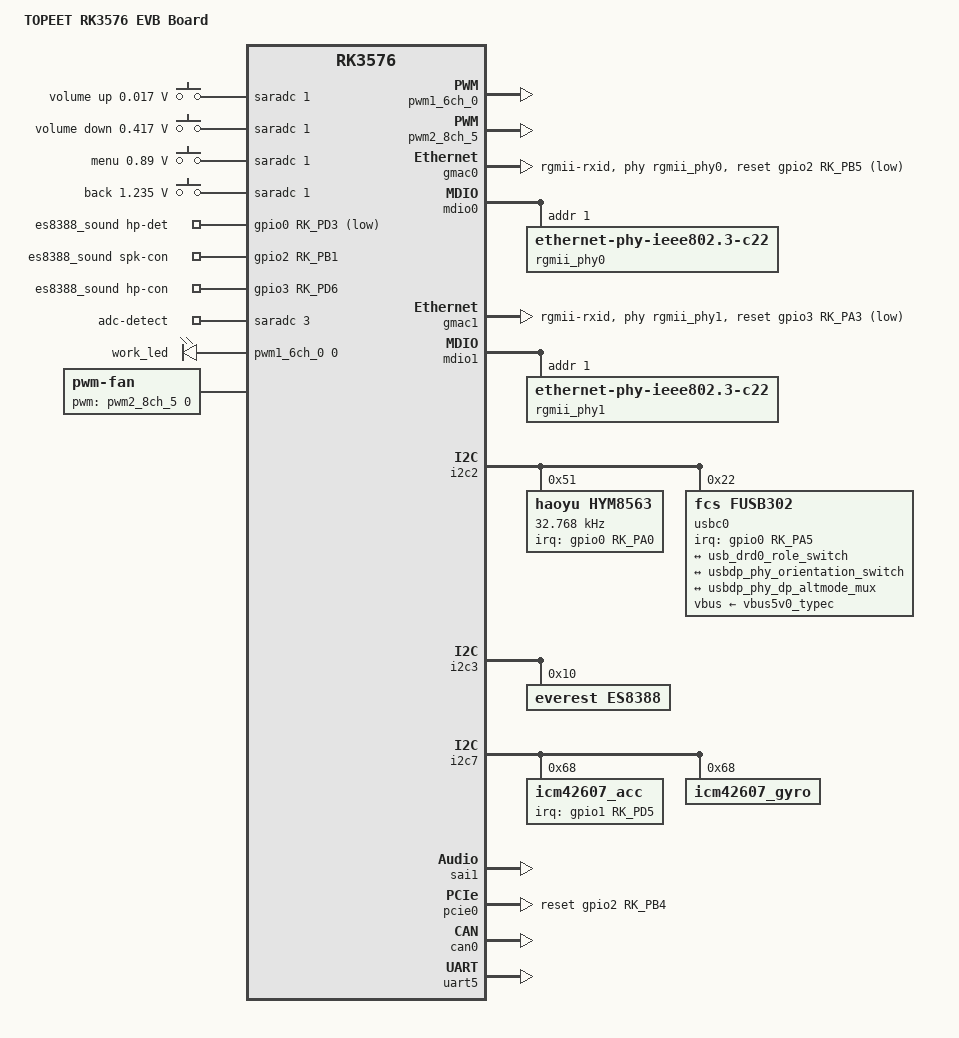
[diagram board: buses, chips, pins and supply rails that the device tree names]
// SPDX-License-Identifier: (GPL-2.0+ OR MIT)                                                                
/*
 * Copyright (c) 2024 Rockchip Electronics Co., Ltd.
 *
 */

/dts-v1/;

#include "rk3576.dtsi"
#include "rk3576-linux.dtsi"
#include "topeet-rk3576-linux.dtsi"
#include <dt-bindings/usb/pd.h>
#include "rk3576-rk806.dtsi"
#include "topeet-screen-lcds.dts"

/ {
    model = "TOPEET RK3576 EVB Board";
    compatible = "rockchip,rk3576";

    // ADC 按键
	adc_keys: adc-keys {
		compatible = "adc-keys";
		io-channels = <&saradc 1>;
		io-channel-names = "buttons";
		keyup-threshold-microvolt = <1800000>;
		poll-interval = <100>;

		vol-up-key {
			label = "volume up";
			linux,code = <KEY_VOLUMEUP>;
			press-threshold-microvolt = <17000>;
		};

		vol-down-key {
			label = "volume down";
			linux,code = <KEY_VOLUMEDOWN>;
			press-threshold-microvolt = <417000>;
		};

		menu-key {
			label = "menu";
			linux,code = <KEY_MENU>;
			press-threshold-microvolt = <890000>;
		};

		back-key {
			label = "back";
			linux,code = <KEY_BACK>;
			press-threshold-microvolt = <1235000>;
		};
	};

    //板载声卡
    es8388_sound: es8388-sound {
        status = "okay";
        compatible = "rockchip,multicodecs-card";
        rockchip,card-name = "rockchip-es8388";
        hp-det-gpio = <&gpio0 RK_PD3 GPIO_ACTIVE_LOW>;
        io-channels = <&saradc 3>;
        io-channel-names = "adc-detect";
        keyup-threshold-microvolt = <1800000>;
        poll-interval = <100>;
        spk-con-gpio = <&gpio2 RK_PB1 GPIO_ACTIVE_HIGH>;
        hp-con-gpio = <&gpio3 RK_PD6 GPIO_ACTIVE_HIGH>;
        rockchip,pre-power-on-delay-ms = <30>;
        rockchip,post-power-down-delay-ms = <40>;
        rockchip,format = "i2s";
        rockchip,mclk-fs = <256>;
        rockchip,cpu = <&sai1>;
        rockchip,codec = <&es8388>;
        rockchip,audio-routing =
            "Headphone", "LOUT1",
            "Headphone", "ROUT1",
            "Speaker", "LOUT2",
            "Speaker", "ROUT2",
            "Headphone", "Headphone Power",
            "Headphone", "Headphone Power",
            "Speaker", "Speaker Power",
            "Speaker", "Speaker Power",
            "LINPUT1", "Main Mic",
            "LINPUT2", "Main Mic",
            "RINPUT1", "Headset Mic",
            "RINPUT2", "Headset Mic";
        pinctrl-names = "default";
        pinctrl-0 = <&hp_det>;
        play-pause-key {
            label = "playpause";
            linux,code = <KEY_PLAYPAUSE>;
            press-threshold-microvolt = <2000>;
        };
    };

    //用户LED灯
    leds: leds {
		compatible = "pwm-leds";
		work_led: work {
            pwms = <&pwm1_6ch_0 0 500000 0>;
			linux,default-trigger = "heartbeat";
			default-state = "on";
		};
	};

    //风扇
    fan: pwm-fan {                                                                                           
        compatible = "pwm-fan";
        #cooling-cells = <2>;
        pwms = <&pwm2_8ch_5 0 400000 0>; 
        cooling-levels = <0 50 100 150 200 255>;
        rockchip,temp-trips = <
            50000   1
            55000   2
            60000   3
            65000   4
            70000   5
        >;
    };
}; 

// 用户LED PWM
&pwm1_6ch_0 {
    status = "okay";
};

// 风扇PWM
&pwm2_8ch_5 {
    pinctrl-0 = <&pwm2m1_ch5>;
    status = "okay";
};

//网卡0
&gmac0 {
    /* Use rgmii-rxid mode to disable rx delay inside Soc */
    phy-mode = "rgmii-rxid";
    clock_in_out = "output";

    snps,reset-gpio = <&gpio2 RK_PB5 GPIO_ACTIVE_LOW>;
    snps,reset-active-low;
    /* Reset time is 20ms, 100ms for rtl8211f */
    snps,reset-delays-us = <0 20000 100000>;

    pinctrl-names = "default";
    pinctrl-0 = <&eth0m0_miim
             &eth0m0_tx_bus2
             &eth0m0_rx_bus2
             &eth0m0_rgmii_clk
             &eth0m0_rgmii_bus
             &ethm0_clk0_25m_out>;

    tx_delay = <0x21>;
    /* rx_delay = <0x3f>; */

    phy-handle = <&rgmii_phy0>;
    status = "okay";
};

&mdio0 {
    rgmii_phy0: phy@1 {
        compatible = "ethernet-phy-ieee802.3-c22";
        reg = <0x1>;
        clocks = <&cru REFCLKO25M_GMAC0_OUT>;
    };
};

//网卡1
&gmac1 {
    /* Use rgmii-rxid mode to disable rx delay inside Soc */
    phy-mode = "rgmii-rxid";
    clock_in_out = "output";

    snps,reset-gpio = <&gpio3 RK_PA3 GPIO_ACTIVE_LOW>;
    snps,reset-active-low;
    /* Reset time is 20ms, 100ms for rtl8211f */
    snps,reset-delays-us = <0 20000 100000>;

    pinctrl-names = "default";
    pinctrl-0 = <&eth1m0_miim
             &eth1m0_tx_bus2
             &eth1m0_rx_bus2
             &eth1m0_rgmii_clk
             &eth1m0_rgmii_bus
             &ethm0_clk1_25m_out>;

    tx_delay = <0x20>;
    /* rx_delay = <0x3f>; */

    phy-handle = <&rgmii_phy1>;
    status = "okay";
};


&mdio1 {
    rgmii_phy1: phy@1 {
        compatible = "ethernet-phy-ieee802.3-c22";
        reg = <0x1>;
        clocks = <&cru REFCLKO25M_GMAC1_OUT>;
    };
};

&i2c2 {
    status = "okay";
    //RTC实时时钟
    hym8563: hym8563@51 {
        compatible = "haoyu,hym8563";
        reg = <0x51>;
        #clock-cells = <0>;
        clock-frequency = <32768>;
        clock-output-names = "hym8563";
        pinctrl-names = "default";
        pinctrl-0 = <&hym8563_int>;
        interrupt-parent = <&gpio0>;
        interrupts = <RK_PA0 IRQ_TYPE_LEVEL_LOW>;
        wakeup-source;
    };

    //TYPEC接口
    usbc0: fusb302@22 {
        compatible = "fcs,fusb302";
        reg = <0x22>;
        interrupt-parent = <&gpio0>;
        interrupts = <RK_PA5 IRQ_TYPE_LEVEL_LOW>;
        pinctrl-names = "default";
        pinctrl-0 = <&usbc0_int>;
        vbus-supply = <&vbus5v0_typec>;
        status = "okay";

        port {
            usbc0_role_sw: endpoint {
                remote-endpoint = <&usb_drd0_role_switch>;
            };
        };

        usb_con: connector {
            compatible = "usb-c-connector";
            label = "USB-C";
            data-role = "dual";
            power-role = "dual";
            try-power-role = "sink";
            op-sink-microwatt = <1000000>;
            sink-pdos =
                <PDO_FIXED(5000, 1000, PDO_FIXED_USB_COMM)>;
            source-pdos =
                <PDO_FIXED(5000, 3000, PDO_FIXED_USB_COMM)>;
            mode-switch = <&dp>;

            altmodes {
                #address-cells = <1>;
                #size-cells = <0>;

                altmode@0 {
                    reg = <0>;
                    svid = <0xff01>;
                    vdo = <0xffffffff>;
                };
            };

            ports {
                #address-cells = <1>;
                #size-cells = <0>;

                port@0 {
                    reg = <0>;
                    usbc0_orien_sw: endpoint {
                        remote-endpoint = <&usbdp_phy_orientation_switch>;
                    };
                };

                port@1 {
                    reg = <1>;
                    dp_altmode_mux: endpoint {
                        remote-endpoint = <&usbdp_phy_dp_altmode_mux>;
                    };
                };
            };
        };
    };
};

&i2c3 {
    status = "okay";
    //板载声卡配置
    es8388: es8388@10 {
        status = "okay";
        #sound-dai-cells = <0>;
        compatible = "everest,es8388", "everest,es8323";
        reg = <0x10>;
        clocks = <&mclkout_sai1>;
        clock-names = "mclk";
        assigned-clocks = <&mclkout_sai1>;
        assigned-clock-rates = <12288000>;
        pinctrl-names = "default";
        pinctrl-0 = <&sai1m0_mclk>;
    };
};

&i2c7 {
    status = "okay";
    pinctrl-names = "default";
    pinctrl-0 = <&i2c7m1_xfer>;

    //加速度计
    icm42607_acc: icm_acc@68 {
        status = "okay";
        compatible = "icm42607_acc";
        reg = <0x68>;
        irq-gpio = <&gpio1 RK_PD5 IRQ_TYPE_EDGE_RISING>;
        irq_enable = <0>;
        poll_delay_ms = <30>;
        type = <SENSOR_TYPE_ACCEL>;
        layout = <4>;
    };

    //陀螺仪
    icm42607_gyro: icm_gyro@68 {
        status = "okay";
        compatible = "icm42607_gyro";
        reg = <0x68>;
        poll_delay_ms = <30>;
        type = <SENSOR_TYPE_GYROSCOPE>;
        layout = <4>;
    };
};

//串行音频接口
&sai1 {
    status = "okay";
    pinctrl-names = "default";
    pinctrl-0 = <&sai1m0_lrck
             &sai1m0_sclk
             &sai1m0_sdi0
             &sai1m0_sdo0>;
};

// NVME固态硬盘
&pcie0 {
    reset-gpios = <&gpio2 RK_PB4 GPIO_ACTIVE_HIGH>;
    status = "okay";
};

//CAN设备
&can0 {
    status = "okay";
    assigned-clocks = <&cru CLK_CAN0>;
    assigned-clock-rates = <200000000>;
    pinctrl-names = "default";
    pinctrl-0 = <&can0m2_pins>;
};

//串口5
&uart5 {
    status = "okay";
    pinctrl-0 = <&uart5m1_xfer>;
};

&pinctrl {
    //RTC中断引脚
    hym8563 {                                                                                                
        hym8563_int: hym8563-int {
            rockchip,pins = <0 RK_PA0 RK_FUNC_GPIO &pcfg_pull_up>;
        };
    };
    //耳机检测引脚
    headphone {
        hp_det: hp-det {
            rockchip,pins = <0 RK_PD3 RK_FUNC_GPIO &pcfg_pull_none>;
        };
    };

    usb {
        usb_host_pwren: usb-host-pwren {
            rockchip,pins = <0 RK_PC7 RK_FUNC_GPIO &pcfg_pull_none>;
        };

        usb_otg0_pwren: usb-otg0-pwren {
            rockchip,pins = <0 RK_PD1 RK_FUNC_GPIO &pcfg_pull_none>;
        };

        usbc0_int: usbc0-int {
            rockchip,pins = <0 RK_PA5 RK_FUNC_GPIO &pcfg_pull_up>;
        };
    };
};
